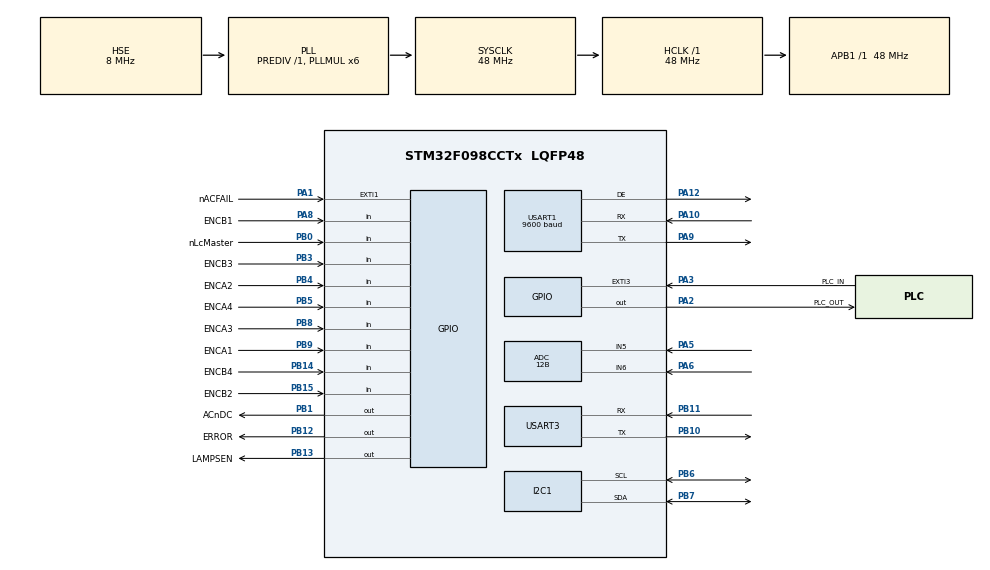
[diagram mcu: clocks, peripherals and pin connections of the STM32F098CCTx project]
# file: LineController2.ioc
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ADC.ClockPrescaler=ADC_CLOCK_ASYNC_DIV1
ADC.ContinuousConvMode=DISABLE
ADC.DMAContinuousRequests=DISABLE
ADC.DataAlign=ADC_DATAALIGN_RIGHT
ADC.DiscontinuousConvMode=DISABLE
ADC.EOCSelection=ADC_EOC_SEQ_CONV
ADC.EnableAnalogWatchDog=false
ADC.ExternalTrigConv=ADC_SOFTWARE_START
ADC.ExternalTrigConvEdge=ADC_EXTERNALTRIGCONVEDGE_NONE
ADC.LowPowerAutoPowerOff=DISABLE
ADC.LowPowerAutoWait=DISABLE
ADC.Overrun=ADC_OVR_DATA_PRESERVED
ADC.Resolution=ADC_RESOLUTION_12B
ADC.SamplingTime=ADC_SAMPLETIME_1CYCLE_5
ADC.ScanConvMode=ADC_SCAN_DIRECTION_FORWARD
Dma.Request0=USART3_TX
Dma.Request1=USART1_TX
Dma.USART1_TX.1.Direction=DMA_MEMORY_TO_PERIPH
Dma.USART1_TX.1.Instance=DMA1_Channel4
Dma.USART1_TX.1.MemDataAlignment=DMA_MDATAALIGN_BYTE
Dma.USART1_TX.1.MemInc=DMA_MINC_ENABLE
Dma.USART1_TX.1.Mode=DMA_NORMAL
Dma.USART1_TX.1.PeriphDataAlignment=DMA_PDATAALIGN_BYTE
Dma.USART1_TX.1.PeriphInc=DMA_PINC_DISABLE
Dma.USART1_TX.1.Priority=DMA_PRIORITY_LOW
Dma.USART3_TX.0.Direction=DMA_MEMORY_TO_PERIPH
Dma.USART3_TX.0.Instance=DMA1_Channel7
Dma.USART3_TX.0.MemDataAlignment=DMA_MDATAALIGN_BYTE
Dma.USART3_TX.0.MemInc=DMA_MINC_ENABLE
Dma.USART3_TX.0.Mode=DMA_NORMAL
Dma.USART3_TX.0.PeriphDataAlignment=DMA_PDATAALIGN_BYTE
Dma.USART3_TX.0.PeriphInc=DMA_PINC_DISABLE
Dma.USART3_TX.0.Priority=DMA_PRIORITY_LOW
FREERTOS.INCLUDE_vTaskDelayUntil=1
FREERTOS.Tasks01=defaultTask,0,128,StartDefaultTask,Default
FREERTOS.configTOTAL_HEAP_SIZE=16384
I2C1.Timing=0x2000090E
Mcu.Family=STM32F0
Mcu.Name=STM32F098CCTx
Mcu.Package=LQFP48
NVIC.ADC1_COMP_IRQn=true\:3\:0\:false\:false\:true\:true
NVIC.DMA1_Ch4_7_DMA2_Ch3_5_IRQn=true\:3\:0\:false\:false\:true\:true
NVIC.EXTI0_1_IRQn=true\:3\:0\:false\:false\:true\:true
NVIC.EXTI2_3_IRQn=true\:3\:0\:false\:false\:true\:true
NVIC.I2C1_IRQn=true\:3\:0\:false\:false\:true\:true
NVIC.TIM14_IRQn=true\:3\:0\:false\:false\:true\:true
NVIC.TIM16_IRQn=true\:3\:0\:false\:false\:true\:true
NVIC.TIM17_IRQn=true\:3\:0\:false\:false\:true\:true
NVIC.TIM6_DAC_IRQn=true\:3\:0\:false\:false\:true\:true
NVIC.TIM7_IRQn=true\:3\:0\:false\:false\:true\:true
NVIC.USART1_IRQn=true\:3\:0\:false\:false\:true\:true
NVIC.USART3_8_IRQn=true\:3\:0\:false\:false\:true\:true
PA1.GPIO_Label=nACFAIL
PA1.GPIO_ModeDefaultEXTI=GPIO_MODE_IT_RISING_FALLING
PA1.GPIO_PuPd=GPIO_PULLUP
PA1.Signal=GPXTI1
PA10.Mode=Asynchronous
PA10.Signal=USART1_RX
PA12.Mode=Hardware Flow Control (RS485)
PA12.Signal=USART1_DE
PA13.Mode=Serial_Wire
PA13.Signal=SYS_SWDIO
PA14.Mode=Serial_Wire
PA14.Signal=SYS_SWCLK
PA2.GPIO_Label=PLC_OUT
PA2.GPIO_PuPd=GPIO_PULLUP
PA2.PinState=GPIO_PIN_SET
PA2.Signal=GPIO_Output
PA3.GPIO_Label=PLC_IN
PA3.GPIO_ModeDefaultEXTI=GPIO_MODE_IT_FALLING
PA3.GPIO_PuPd=GPIO_PULLUP
PA3.Signal=GPXTI3
PA5.Mode=IN5
PA5.Signal=ADC_IN5
PA6.Mode=IN6
PA6.Signal=ADC_IN6
PA8.GPIO_Label=ENCB1
PA8.GPIO_Mode=GPIO_MODE_INPUT
PA8.GPIO_PuPd=GPIO_PULLUP
PA8.Signal=GPIO_Input
PA9.Mode=Asynchronous
PA9.Signal=USART1_TX
PB0.GPIO_Label=nLcMaster
PB0.GPIO_PuPd=GPIO_PULLUP
PB0.Signal=GPIO_Input
PB1.GPIO_Label=ACnDC
PB1.GPIO_PuPd=GPIO_PULLDOWN
PB1.Signal=GPIO_Output
PB10.Mode=Asynchronous
PB10.Signal=USART3_TX
PB11.Mode=Asynchronous
PB11.Signal=USART3_RX
PB12.GPIO_Label=ERROR
PB12.Signal=GPIO_Output
PB13.GPIO_Label=LAMPSEN
PB13.Signal=GPIO_Output
PB14.GPIO_Label=ENCB4
PB14.GPIO_Mode=GPIO_MODE_INPUT
PB14.GPIO_PuPd=GPIO_PULLUP
PB14.Signal=GPIO_Input
PB15.GPIO_Label=ENCB2
PB15.GPIO_Mode=GPIO_MODE_INPUT
PB15.GPIO_PuPd=GPIO_PULLUP
PB15.Signal=GPIO_Input
PB3.GPIO_Label=ENCB3
PB3.GPIO_Mode=GPIO_MODE_INPUT
PB3.GPIO_PuPd=GPIO_PULLUP
PB3.Signal=GPIO_Input
PB4.GPIO_Label=ENCA2
PB4.GPIO_Mode=GPIO_MODE_INPUT
PB4.GPIO_PuPd=GPIO_PULLUP
PB4.Signal=GPIO_Input
PB5.GPIO_Label=ENCA4
PB5.GPIO_Mode=GPIO_MODE_INPUT
PB5.GPIO_PuPd=GPIO_PULLUP
PB5.Signal=GPIO_Input
PB6.Mode=I2C
PB6.Signal=I2C1_SCL
PB7.Mode=I2C
PB7.Signal=I2C1_SDA
PB8.GPIO_Label=ENCA3
PB8.GPIO_Mode=GPIO_MODE_INPUT
PB8.GPIO_PuPd=GPIO_PULLUP
PB8.Signal=GPIO_Input
PB9.GPIO_Label=ENCA1
PB9.GPIO_Mode=GPIO_MODE_INPUT
PB9.GPIO_PuPd=GPIO_PULLUP
PB9.Signal=GPIO_Input
PC14OSC32_IN.Mode=LSE-External-Oscillator
PC14OSC32_IN.Signal=RCC_OSC32_IN
PC15OSC32_OUT.Mode=LSE-External-Oscillator
PC15OSC32_OUT.Signal=RCC_OSC32_OUT
PF0-OSC_IN.Mode=HSE-External-Oscillator
PF0-OSC_IN.Signal=RCC_OSC_IN
PF1-OSC_OUT.Mode=HSE-External-Oscillator
PF1-OSC_OUT.Signal=RCC_OSC_OUT
ProjectManager.HeapSize=0x200
ProjectManager.StackSize=0x400
ProjectManager.TargetToolchain=SW4STM32
RCC.AHBFreq_Value=48000000
RCC.APB1Freq_Value=48000000
RCC.APB1TimFreq_Value=48000000
RCC.HCLKFreq_Value=48000000
RCC.PLLMUL=RCC_PLL_MUL6
RCC.PLLSourceVirtual=RCC_PLLSOURCE_HSE
RCC.SYSCLKFreq_VALUE=48000000
RCC.SYSCLKSource=RCC_SYSCLKSOURCE_PLLCLK
USART1.BaudRate=9600
USART1.Parity=PARITY_NONE
USART1.WordLength=UART_WORDLENGTH_8B
USART3.WordLength=UART_WORDLENGTH_8B
VP_FREERTOS_VS_ENABLE.Mode=Enabled
VP_RTC_VS_RTC_Activate.Mode=RTC_Enabled
VP_TIM14_VS_ClockSourceINT.Mode=Enable_Timer
VP_TIM16_VS_ClockSourceINT.Mode=Enable_Timer
VP_TIM17_VS_ClockSourceINT.Mode=Enable_Timer
VP_TIM6_VS_ClockSourceINT.Mode=Enable_Timer
VP_TIM7_VS_ClockSourceINT.Mode=Enable_Timer
board=LineController2

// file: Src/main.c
/**
  ******************************************************************************
  * File Name          : main.c
  * Description        : Main program body
  ******************************************************************************
  *
  * Copyright (c) 2017 STMicroelectronics International N.V.
  * All rights reserved.
  *
  * Redistribution and use in source and binary forms, with or without
  * modification, are permitted, provided that the following conditions are met:
  *
  * 1. Redistribution of source code must retain the above copyright notice,
  *    this list of conditions and the following disclaimer.
  * 2. Redistributions in binary form must reproduce the above copyright notice,
  *    this list of conditions and the following disclaimer in the documentation
  *    and/or other materials provided with the distribution.
  * 3. Neither the name of STMicroelectronics nor the names of other
  *    contributors to this software may be used to endorse or promote products
  *    derived from this software without specific written permission.
  * 4. This software, including modifications and/or derivative works of this
  *    software, must execute solely and exclusively on microcontroller or
  *    microprocessor devices manufactured by or for STMicroelectronics.
  * 5. Redistribution and use of this software other than as permitted under
  *    this license is void and will automatically terminate your rights under
  *    this license.
  *
  * THIS SOFTWARE IS PROVIDED BY STMICROELECTRONICS AND CONTRIBUTORS "AS IS"
  * AND ANY EXPRESS, IMPLIED OR STATUTORY WARRANTIES, INCLUDING, BUT NOT
  * LIMITED TO, THE IMPLIED WARRANTIES OF MERCHANTABILITY, FITNESS FOR A
  * PARTICULAR PURPOSE AND NON-INFRINGEMENT OF THIRD PARTY INTELLECTUAL PROPERTY
  * RIGHTS ARE DISCLAIMED TO THE FULLEST EXTENT PERMITTED BY LAW. IN NO EVENT
  * SHALL STMICROELECTRONICS OR CONTRIBUTORS BE LIABLE FOR ANY DIRECT, INDIRECT,
  * INCIDENTAL, SPECIAL, EXEMPLARY, OR CONSEQUENTIAL DAMAGES (INCLUDING, BUT NOT
  * LIMITED TO, PROCUREMENT OF SUBSTITUTE GOODS OR SERVICES; LOSS OF USE, DATA,
  * OR PROFITS; OR BUSINESS INTERRUPTION) HOWEVER CAUSED AND ON ANY THEORY OF
  * LIABILITY, WHETHER IN CONTRACT, STRICT LIABILITY, OR TORT (INCLUDING
  * NEGLIGENCE OR OTHERWISE) ARISING IN ANY WAY OUT OF THE USE OF THIS SOFTWARE,
  * EVEN IF ADVISED OF THE POSSIBILITY OF SUCH DAMAGE.
  *
  ******************************************************************************
  */
#include "main.h"
#include "stm32f0xx_hal.h"
#include "cmsis_os.h"
#include "adc.h"
#include "dma.h"
#include "i2c.h"
#include "rtc.h"
#include "tim.h"
#include "usart.h"
#include "gpio.h"

/* USER CODE BEGIN Includes */

#include "u_lc.h"
#include "u_logger.h"
#include "u_changelog.h"
#include "u_address.h"

/* USER CODE END Includes */

/* USER CODE BEGIN PV */
/* Private variables ---------------------------------------------------------*/

/* USER CODE END PV */

void SystemClock_Config(void);
void Error_Handler(void);
void MX_FREERTOS_Init(void);

/* USER CODE BEGIN PFP */
/* Private function prototypes -----------------------------------------------*/

/* USER CODE END PFP */

int main(void)
{

  /* MCU Configuration----------------------------------------------------------*/

  /* Reset of all peripherals, Initializes the Flash interface and the Systick. */
  HAL_Init();

  /* Configure the system clock */
  SystemClock_Config();

  /* Initialize all configured peripherals */
  MX_GPIO_Init();
  MX_DMA_Init();
  MX_RTC_Init();
  MX_ADC_Init();
  MX_USART1_UART_Init();
  MX_I2C1_Init();
  MX_USART3_UART_Init();
  MX_TIM6_Init();
  MX_TIM7_Init();
  MX_TIM14_Init();
  MX_TIM16_Init();
  MX_TIM17_Init();

  /* USER CODE BEGIN 2 */

    Calendar_Init(&hrtc);
    log_Init(&huart3, CONFIG_LOG_UART, e_logLevel_Debug, &firmwareNr);

    // before calling the init script, user has to fill in
    // some application specific information

    // MASTER
    // modbus rx timer and char time
    lc[0].mbm.mbg.rxQ.toutTim = &htim16;
    lc[0].mbm.mbg.rxQ.T35 = 3.5f;

    lc[0].mbm.mbg.modType = e_mbgModuleType_Plc;
    lc[0].mbm.mbg.plcm.timHandleSync = &htim6;
    lc[0].mbm.mbg.plcm.timHandleBits = &htim7;
    lc[0].mbm.mbg.plcm.timHandleZc = &htim17;

    lc[0].mbm.mbg.plcm.strobe = 0;
    lc[0].mbm.mbg.plcm.zCgpio = LC_NACFAIL_GPIO;
    lc[0].mbm.mbg.plcm.zCpin = LC_NACFAIL_PIN;

    lc[0].mbm.mbg.plcm.plcIngpio = LC_PLC_IN_GPIO;
    lc[0].mbm.mbg.plcm.plcInpin = LC_PLC_IN_PIN;

    lc[0].mbm.mbg.plcm.plcOutgpio = LC_PLC_OUT_GPIO;
    lc[0].mbm.mbg.plcm.plcOutpin = LC_PLC_OUT_PIN;

    lc[0].mbm.mbg.plcm.devType = e_plcDevType_Master;
    lc[0].mbm.mbg.plcm.devBeh = e_plcMasBeh_UseZcAndNoZc;

    if (mbm_Init(&lc[0].mbm, LC_NO_OF_MODULES))
    {
    	while (1); // lock mcu
    }

    // SLAVE
    // create slave address (device specific)
	addr_t sa;

	// ENCA
	sa.enca[0].gpio = GPIOB;
	sa.enca[0].nr = GPIO_PIN_9;
	sa.enca[1].gpio = GPIOB;
	sa.enca[1].nr = GPIO_PIN_4;
	sa.enca[2].gpio = GPIOB;
	sa.enca[2].nr = GPIO_PIN_8;
	sa.enca[3].gpio = GPIOB;
	sa.enca[3].nr = GPIO_PIN_5;

	// ENCB
	sa.encb[0].gpio = GPIOA;
	sa.encb[0].nr = GPIO_PIN_8;
	sa.encb[1].gpio = GPIOB;
	sa.encb[1].nr = GPIO_PIN_15;
	sa.encb[2].gpio = GPIOB;
	sa.encb[2].nr = GPIO_PIN_3;
	sa.encb[3].gpio = GPIOB;
	sa.encb[3].nr = GPIO_PIN_14;

	// set slave address
	if (address_Init(&lc[0].mbs.slaveAddr, &sa, 10))
	{
		HAL_GPIO_WritePin(LC_ERROR_GPIO, LC_ERROR_PIN, 1);
		while(1); // bad address
	}

    // set uart handle
    lc[0].mbs.mbg.handle = &huart1;

    lc[0].mbs.mbg.modType = e_mbgModuleType_Uart;

    // modbus rx timer and char time
    lc[0].mbs.mbg.rxQ.toutTim = &htim14;
    lc[0].mbs.mbg.rxQ.T35 = 3.5f;

    mbs_Init(&lc[0].mbs, LC_NO_OF_MODULES);

    lc_Init();

  /* USER CODE END 2 */

  /* Call init function for freertos objects (in freertos.c) */
  MX_FREERTOS_Init();

  /* Start scheduler */
  osKernelStart();

  /* We should never get here as control is now taken by the scheduler */

  /* Infinite loop */
  while (1)
  {

  }

}

/** System Clock Configuration
*/
void SystemClock_Config(void)
{

  RCC_OscInitTypeDef RCC_OscInitStruct;
  RCC_ClkInitTypeDef RCC_ClkInitStruct;
  RCC_PeriphCLKInitTypeDef PeriphClkInit;

    /**Initializes the CPU, AHB and APB busses clocks
    */
  RCC_OscInitStruct.OscillatorType = RCC_OSCILLATORTYPE_HSI|RCC_OSCILLATORTYPE_HSI14
                              |RCC_OSCILLATORTYPE_LSI|RCC_OSCILLATORTYPE_HSE;
  RCC_OscInitStruct.HSEState = RCC_HSE_ON;
  RCC_OscInitStruct.HSIState = RCC_HSI_ON;
  RCC_OscInitStruct.HSI14State = RCC_HSI14_ON;
  RCC_OscInitStruct.HSICalibrationValue = 16;
  RCC_OscInitStruct.HSI14CalibrationValue = 16;
  RCC_OscInitStruct.LSIState = RCC_LSI_ON;
  RCC_OscInitStruct.PLL.PLLState = RCC_PLL_ON;
  RCC_OscInitStruct.PLL.PLLSource = RCC_PLLSOURCE_HSE;
  RCC_OscInitStruct.PLL.PLLMUL = RCC_PLL_MUL6;
  RCC_OscInitStruct.PLL.PREDIV = RCC_PREDIV_DIV1;
  if (HAL_RCC_OscConfig(&RCC_OscInitStruct) != HAL_OK)
  {
    Error_Handler();
  }

    /**Initializes the CPU, AHB and APB busses clocks
    */
  RCC_ClkInitStruct.ClockType = RCC_CLOCKTYPE_HCLK|RCC_CLOCKTYPE_SYSCLK
                              |RCC_CLOCKTYPE_PCLK1;
  RCC_ClkInitStruct.SYSCLKSource = RCC_SYSCLKSOURCE_PLLCLK;
  RCC_ClkInitStruct.AHBCLKDivider = RCC_SYSCLK_DIV1;
  RCC_ClkInitStruct.APB1CLKDivider = RCC_HCLK_DIV1;

  if (HAL_RCC_ClockConfig(&RCC_ClkInitStruct, FLASH_LATENCY_1) != HAL_OK)
  {
    Error_Handler();
  }

  PeriphClkInit.PeriphClockSelection = RCC_PERIPHCLK_USART3|RCC_PERIPHCLK_USART1
                              |RCC_PERIPHCLK_I2C1|RCC_PERIPHCLK_RTC;
  PeriphClkInit.Usart1ClockSelection = RCC_USART1CLKSOURCE_PCLK1;
  PeriphClkInit.Usart3ClockSelection = RCC_USART3CLKSOURCE_PCLK1;
  PeriphClkInit.I2c1ClockSelection = RCC_I2C1CLKSOURCE_HSI;
  PeriphClkInit.RTCClockSelection = RCC_RTCCLKSOURCE_LSI;
  if (HAL_RCCEx_PeriphCLKConfig(&PeriphClkInit) != HAL_OK)
  {
    Error_Handler();
  }

    /**Configure the Systick interrupt time
    */
  HAL_SYSTICK_Config(HAL_RCC_GetHCLKFreq()/1000);

    /**Configure the Systick
    */
  HAL_SYSTICK_CLKSourceConfig(SYSTICK_CLKSOURCE_HCLK);

  /* SysTick_IRQn interrupt configuration */
  HAL_NVIC_SetPriority(SysTick_IRQn, 3, 0);
}

void Error_Handler(void)
{
  while(1)
  {
  }
}

/************************ (C) COPYRIGHT STMicroelectronics *****END OF FILE****/
